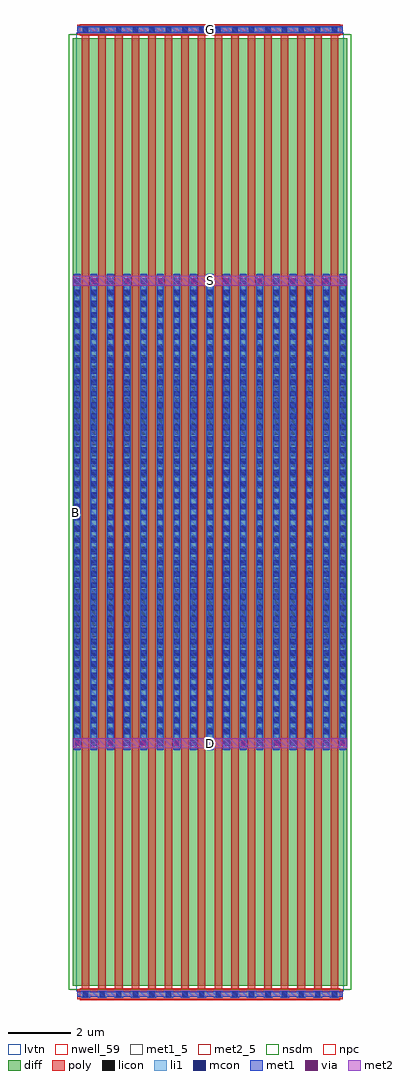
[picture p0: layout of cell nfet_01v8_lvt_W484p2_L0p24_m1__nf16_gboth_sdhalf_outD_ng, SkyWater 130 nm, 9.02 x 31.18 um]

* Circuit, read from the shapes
.subckt nfet_01v8_lvt_W484p2_L0p24_m1__nf16_gboth_sdhalf_outD_ng B D G S
XM1 S G D B sky130_fd_pr__nfet_01v8_lvt w=30.26 l=0.24 m=16
.ends

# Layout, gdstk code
import gdstk
lib = gdstk.Library(unit=1e-6, precision=1e-09)
def R(c, l, rs):  # rectangles x0, y0, x1, y1
    for r in rs: c.add(gdstk.rectangle(r[:2], r[2:], *l))
def A(c, l, x, y, w, h, nx, ny, dx, dy):  # array of equal rectangles
    R(c, l, [(x+i*dx, y+j*dy, x+i*dx+w, y+j*dy+h) for i in range(nx) for j in range(ny)])
nwell_59 = (64, 59)
diff = (65, 20)
poly = (66, 20)
licon = (66, 44)
li1 = (67, 20)
mcon = (67, 44)
met1_5 = (68, 5)
met1 = (68, 20)
via = (68, 44)
met2_5 = (69, 5)
met2 = (69, 20)
nsdm = (93, 44)
npc = (95, 20)
lvtn = (125, 44)

sky130_fd_pr__nfet_01v8_ = lib.new_cell('sky130_fd_pr__nfet_01v8_lvt_KD2JCR')
R(sky130_fd_pr__nfet_01v8_, diff, [(-4.385,-15.13,4.385,15.13)])
A(sky130_fd_pr__nfet_01v8_, poly, -4.095, -15.24, 0.24, 30.48, 16, 1, 0.53, 0)
R(sky130_fd_pr__nfet_01v8_, poly, [(-4.24,-15.57,4.24,-15.24), (-4.24,15.24,4.24,15.57)])
A(sky130_fd_pr__nfet_01v8_, licon, -4.06, -15.49, 0.17, 0.17, 16, 2, 0.53, 30.81)
A(sky130_fd_pr__nfet_01v8_, licon, -4.325, -7.395, 0.17, 0.17, 17, 44, 0.53, 0.34)
A(sky130_fd_pr__nfet_01v8_, li1, -4.325, -7.615, 0.17, 15.23, 17, 1, 0.53, 0)
R(sky130_fd_pr__nfet_01v8_, li1, [(-4.24,-15.49,4.24,-15.32), (-4.24,15.32,4.24,15.49)])
A(sky130_fd_pr__nfet_01v8_, mcon, -4.06, -15.49, 0.17, 0.17, 16, 2, 0.53, 30.81)
A(sky130_fd_pr__nfet_01v8_, mcon, -4.325, -7.465, 0.17, 0.17, 17, 42, 0.53, 0.36)
A(sky130_fd_pr__nfet_01v8_, met1, -4.12, -15.52, 0.29, 0.03, 16, 2, 0.53, 0.2)
A(sky130_fd_pr__nfet_01v8_, met1, -4.355, -7.595, 0.23, 15.19, 17, 1, 0.53, 0)
A(sky130_fd_pr__nfet_01v8_, met1, -4.12, 15.29, 0.29, 0.03, 16, 2, 0.53, 0.2)
R(sky130_fd_pr__nfet_01v8_, met1, [(-4.24,-15.49,4.24,-15.32), (-4.24,15.32,4.24,15.49)])
R(sky130_fd_pr__nfet_01v8_, nsdm, [(-4.51,-15.255,4.51,15.255)])
R(sky130_fd_pr__nfet_01v8_, npc, [(-4.16,-15.59,4.16,-15.22), (-4.16,15.22,4.16,15.59)])
R(sky130_fd_pr__nfet_01v8_, lvtn, [(-4.275,-15.31,4.275,15.31)])
sky130_fd_pr__nfet_01v8_.add(gdstk.Label('D0', (-4.24,0), layer=67, texttype=5))
sky130_fd_pr__nfet_01v8_.add(gdstk.Label('G', (3.975,15.405), layer=67, texttype=5))
sky130_fd_pr__nfet_01v8_.add(gdstk.Label('G', (3.445,15.405), layer=67, texttype=5))
sky130_fd_pr__nfet_01v8_.add(gdstk.Label('G', (2.915,15.405), layer=67, texttype=5))
sky130_fd_pr__nfet_01v8_.add(gdstk.Label('G', (2.385,15.405), layer=67, texttype=5))
sky130_fd_pr__nfet_01v8_.add(gdstk.Label('G', (1.855,15.405), layer=67, texttype=5))
sky130_fd_pr__nfet_01v8_.add(gdstk.Label('G', (1.325,15.405), layer=67, texttype=5))
sky130_fd_pr__nfet_01v8_.add(gdstk.Label('G', (0.795,15.405), layer=67, texttype=5))
sky130_fd_pr__nfet_01v8_.add(gdstk.Label('G', (0.265,15.405), layer=67, texttype=5))
sky130_fd_pr__nfet_01v8_.add(gdstk.Label('G', (-0.265,15.405), layer=67, texttype=5))
sky130_fd_pr__nfet_01v8_.add(gdstk.Label('G', (-0.795,15.405), layer=67, texttype=5))
sky130_fd_pr__nfet_01v8_.add(gdstk.Label('G', (-1.325,15.405), layer=67, texttype=5))
sky130_fd_pr__nfet_01v8_.add(gdstk.Label('G', (-1.855,15.405), layer=67, texttype=5))
sky130_fd_pr__nfet_01v8_.add(gdstk.Label('G', (-2.385,15.405), layer=67, texttype=5))
sky130_fd_pr__nfet_01v8_.add(gdstk.Label('G', (-2.915,15.405), layer=67, texttype=5))
sky130_fd_pr__nfet_01v8_.add(gdstk.Label('G', (-3.445,15.405), layer=67, texttype=5))
sky130_fd_pr__nfet_01v8_.add(gdstk.Label('G', (-3.975,15.405), layer=67, texttype=5))
sky130_fd_pr__nfet_01v8_.add(gdstk.Label('S1', (-3.71,0), layer=67, texttype=5))
sky130_fd_pr__nfet_01v8_.add(gdstk.Label('D2', (-3.18,0), layer=67, texttype=5))
sky130_fd_pr__nfet_01v8_.add(gdstk.Label('S3', (-2.65,0), layer=67, texttype=5))
sky130_fd_pr__nfet_01v8_.add(gdstk.Label('D4', (-2.12,0), layer=67, texttype=5))
sky130_fd_pr__nfet_01v8_.add(gdstk.Label('S5', (-1.59,0), layer=67, texttype=5))
sky130_fd_pr__nfet_01v8_.add(gdstk.Label('D6', (-1.06,0), layer=67, texttype=5))
sky130_fd_pr__nfet_01v8_.add(gdstk.Label('S7', (-0.53,0), layer=67, texttype=5))
sky130_fd_pr__nfet_01v8_.add(gdstk.Label('D8', (0,0), layer=67, texttype=5))
sky130_fd_pr__nfet_01v8_.add(gdstk.Label('S9', (0.53,0), layer=67, texttype=5))
sky130_fd_pr__nfet_01v8_.add(gdstk.Label('D10', (1.06,0), layer=67, texttype=5))
sky130_fd_pr__nfet_01v8_.add(gdstk.Label('S11', (1.59,0), layer=67, texttype=5))
sky130_fd_pr__nfet_01v8_.add(gdstk.Label('D12', (2.12,0), layer=67, texttype=5))
sky130_fd_pr__nfet_01v8_.add(gdstk.Label('S13', (2.65,0), layer=67, texttype=5))
sky130_fd_pr__nfet_01v8_.add(gdstk.Label('D14', (3.18,0), layer=67, texttype=5))
sky130_fd_pr__nfet_01v8_.add(gdstk.Label('S15', (3.71,0), layer=67, texttype=5))

nfet_01v8_lvt_w484p2_l0p = lib.new_cell('nfet_01v8_lvt_W484p2_L0p24_m1__nf16_gboth_sdhalf_outD_ng')
R(nfet_01v8_lvt_w484p2_l0p, nwell_59, [(0.05,15.52,0.15,15.62)])
R(nfet_01v8_lvt_w484p2_l0p, met1_5, [(0.145,30.86,8.625,31.09)])
A(nfet_01v8_lvt_w484p2_l0p, met1, 0.015, 8.025, 0.26, 0.32, 9, 1, 1.06, 0)
A(nfet_01v8_lvt_w484p2_l0p, met1, 0.545, 22.795, 0.26, 0.32, 8, 1, 1.06, 0)
R(nfet_01v8_lvt_w484p2_l0p, met1, [(0.145,30.86,8.625,31.09)])
A(nfet_01v8_lvt_w484p2_l0p, via, 0.07, 8.11, 0.15, 0.15, 9, 1, 1.06, 0)
A(nfet_01v8_lvt_w484p2_l0p, via, 0.6, 22.88, 0.15, 0.15, 8, 1, 1.06, 0)
R(nfet_01v8_lvt_w484p2_l0p, met2_5, [(0.01,8.025,8.76,8.345), (0.01,22.795,8.76,23.115)])
R(nfet_01v8_lvt_w484p2_l0p, met2, [(0.01,8.025,8.76,8.345), (0.01,22.795,8.76,23.115)])
nfet_01v8_lvt_w484p2_l0p.add(gdstk.Reference(sky130_fd_pr__nfet_01v8_, (4.385,15.57)))
nfet_01v8_lvt_w484p2_l0p.add(gdstk.Label('S', (4.385,22.955), layer=69, texttype=5))
nfet_01v8_lvt_w484p2_l0p.add(gdstk.Label('D', (4.385,8.185), layer=69, texttype=5))
nfet_01v8_lvt_w484p2_l0p.add(gdstk.Label('G', (4.385,30.975), layer=68, texttype=5))
nfet_01v8_lvt_w484p2_l0p.add(gdstk.Label('B', (0.1,15.57), layer=64, texttype=59))

lib.write_gds('nfet_01v8_lvt_W484p2_L0p24_m1__nf16_gboth_sdhalf_outD_ng.gds')
